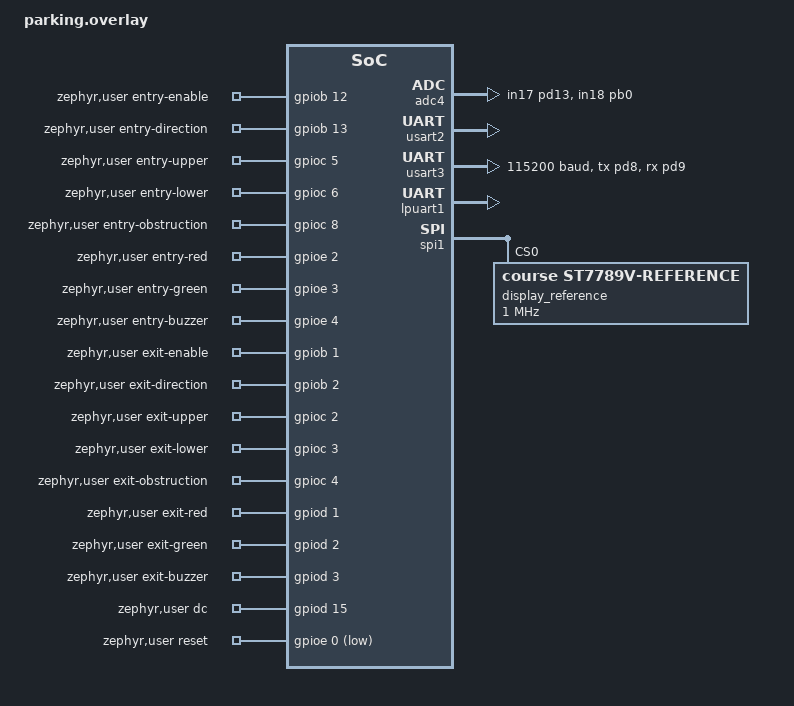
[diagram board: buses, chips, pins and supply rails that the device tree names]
/ {
        zephyr,user {
                /* Entry lane: camera USART3, distance ADC4 IN17 (PD13). */
                entry-enable-gpios = <&gpiob 12 GPIO_ACTIVE_HIGH>;
                entry-direction-gpios = <&gpiob 13 GPIO_ACTIVE_HIGH>;
                entry-upper-gpios = <&gpioc 5 (GPIO_ACTIVE_HIGH | GPIO_PULL_DOWN)>;
                entry-lower-gpios = <&gpioc 6 (GPIO_ACTIVE_HIGH | GPIO_PULL_DOWN)>;
                entry-obstruction-gpios = <&gpioc 8 (GPIO_ACTIVE_HIGH | GPIO_PULL_DOWN)>;
                entry-red-gpios = <&gpioe 2 GPIO_ACTIVE_HIGH>;
                entry-green-gpios = <&gpioe 3 GPIO_ACTIVE_HIGH>;
                entry-buzzer-gpios = <&gpioe 4 GPIO_ACTIVE_HIGH>;
                /* Exit lane: camera USART2, payment LPUART1, ADC4 IN18 (PB0). */
                exit-enable-gpios = <&gpiob 1 GPIO_ACTIVE_HIGH>;
                exit-direction-gpios = <&gpiob 2 GPIO_ACTIVE_HIGH>;
                exit-upper-gpios = <&gpioc 2 (GPIO_ACTIVE_HIGH | GPIO_PULL_DOWN)>;
                exit-lower-gpios = <&gpioc 3 (GPIO_ACTIVE_HIGH | GPIO_PULL_DOWN)>;
                exit-obstruction-gpios = <&gpioc 4 (GPIO_ACTIVE_HIGH | GPIO_PULL_DOWN)>;
                exit-red-gpios = <&gpiod 1 GPIO_ACTIVE_HIGH>;
                exit-green-gpios = <&gpiod 2 GPIO_ACTIVE_HIGH>;
                exit-buzzer-gpios = <&gpiod 3 GPIO_ACTIVE_HIGH>;
                /* Exit-lane payment display. */
                dc-gpios = <&gpiod 15 GPIO_ACTIVE_HIGH>;
                reset-gpios = <&gpioe 0 GPIO_ACTIVE_LOW>;
        };
};
&adc1 { status = "disabled"; };
&adc4 { pinctrl-0 = <&adc4_in17_pd13 &adc4_in18_pb0>; };
&usart2 { status = "okay"; };
&usart3 {
        pinctrl-0 = <&usart3_tx_pd8 &usart3_rx_pd9>;
        pinctrl-names = "default";
        current-speed = <115200>;
        status = "okay";
};
&lpuart1 { status = "okay"; };
&spi1 {
        status = "okay";
        display_reference: display@0 {
                compatible = "course,st7789v-reference";
                reg = <0>;
                spi-max-frequency = <1000000>;
        };
};
